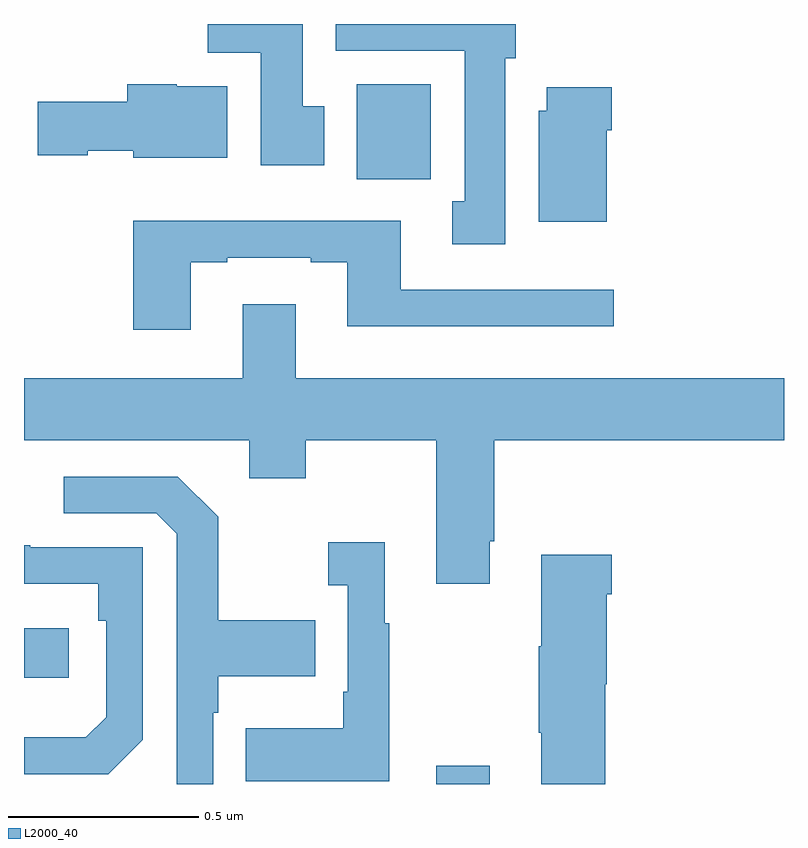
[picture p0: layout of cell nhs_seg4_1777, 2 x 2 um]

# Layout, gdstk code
import gdstk
lib = gdstk.Library(unit=1e-6, precision=1e-09)
def R(c, l, rs):  # rectangles x0, y0, x1, y1
    for r in rs: c.add(gdstk.rectangle(r[:2], r[2:], *l))
def P(c, l, *ps):  # polygons
    for p in ps: c.add(gdstk.Polygon(p, *l))
L2000_40 = (2000, 40)

nhs_seg4_1777 = lib.new_cell('nhs_seg4_1777')
R(nhs_seg4_1777, L2000_40, [(133.085,811.9,133.225,811.948), (132,812.18,132.118,812.31), (132.875,813.492,133.071,813.742)])
P(nhs_seg4_1777, L2000_40, [(132.79,813.684),(132.733,813.684),(132.733,813.9),(132.484,813.9),(132.484,813.824),(132.623,813.824),(132.623,813.528),(132.79,813.528)],
  [(133.267,813.81),(133.294,813.81),(133.294,813.9),(132.821,813.9),(132.821,813.83),(133.16,813.83),(133.16,813.433),(133.127,813.433),(133.127,813.321),(133.267,813.321)],
  [(132.535,813.736),(132.402,813.736),(132.402,813.742),(132.272,813.742),(132.272,813.696),(132.036,813.696),(132.036,813.554),(132.168,813.554),(132.168,813.566),(132.288,813.566),(132.288,813.548),(132.535,813.548)],
  [(133.534,813.62),(133.547,813.62),(133.547,813.733),(133.376,813.733),(133.376,813.672),(133.355,813.672),(133.355,813.38),(133.534,813.38)],
  [(132.439,813.273),(132.535,813.273),(132.535,813.285),(132.755,813.285),(132.755,813.273),(132.851,813.273),(132.851,813.104),(133.552,813.104),(133.552,813.201),(132.991,813.201),(132.991,813.382),(132.287,813.382),(132.287,813.096),(132.439,813.096)],
  [(133.225,812.539),(133.238,812.539),(133.238,812.804),(134,812.804),(134,812.968),(132.715,812.968),(132.715,813.163),(132.575,813.163),(132.575,812.968),(132,812.968),(132,812.804),(132.593,812.804),(132.593,812.705),(132.741,812.705),(132.741,812.804),(133.085,812.804),(133.085,812.427),(133.225,812.427)],
  [(132.498,812.087),(132.511,812.087),(132.511,812.183),(132.767,812.183),(132.767,812.331),(132.511,812.331),(132.511,812.603),(132.405,812.709),(132.105,812.709),(132.105,812.613),(132.348,812.613),(132.402,812.559),(132.402,811.9),(132.498,811.9)],
  [(132.961,812.323),(132.949,812.323),(132.949,812.536),(132.801,812.536),(132.801,812.423),(132.852,812.423),(132.852,812.143),(132.84,812.143),(132.84,812.047),(132.583,812.047),(132.583,811.907),(132.961,811.907)],
  [(132.312,812.016),(132.312,812.523),(132.017,812.523),(132.017,812.528),(132,812.528),(132,812.427),(132.196,812.427),(132.196,812.33),(132.216,812.33),(132.216,812.076),(132.163,812.023),(132,812.023),(132,811.926),(132.222,811.926)],
  [(133.529,812.163),(133.534,812.163),(133.534,812.399),(133.547,812.399),(133.547,812.503),(133.361,812.503),(133.361,812.263),(133.354,812.263),(133.354,812.035),(133.361,812.035),(133.361,811.9),(133.529,811.9)])

lib.write_gds('nhs_seg4_1777.gds')
